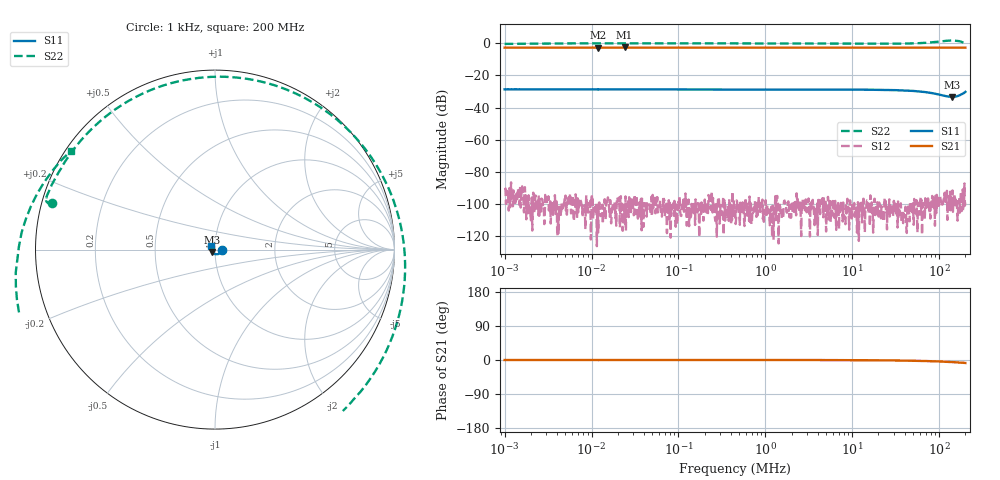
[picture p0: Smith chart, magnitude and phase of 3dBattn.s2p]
! ListType=Log
# MHZ S RI R 50
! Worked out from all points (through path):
!   1000 points, 1 kHz to 200 MHz, reference 50 ohm
!   highest |S21| = -2.72 dB at 23.97 kHz (marker M1); lowest = -2.9 dB at 11.95 kHz (marker M2)
!   group delay of S21, straight-line fit = 109 ps
!   lowest |S11| = -33.4 dB at 140.3 MHz (marker M3), VSWR 1.04, Z = 48.3 - j1.24 ohm
!   |S11| at or under -10 dB: start of sweep to end of sweep
!   |S22| runs from -0.5 to 1.7 dB; largest |S21 - S12| = 0.73
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0.001  0.0368 -0.000356  0.7243 0.000107  -1.15e-05 -2.99e-05  -0.9089 0.26
0.0076941  0.0368 -9.2e-05  0.7245 0.000168  -2.1e-06 8.4e-06  -0.9422 0.2759
0.011945  0.0359 -0.000669  0.7173 -0.00634  -1.2e-06 6e-07  -0.9435 0.2782
0.0239689  0.0368 0.000116  0.7313 0.00337  -3.4e-06 -2.8e-06  -0.9432 0.2849
0.0584804  0.0367 -0.000227  0.7245 1.42e-05  1.1e-06 -7.5e-06  -0.9406 0.2882
0.4499541  0.0362 -0.000446  0.7244 -0.000189  1.8e-06 7.1e-06  -0.9349 0.303
3.419952  0.0361 -0.00167  0.7244 -0.00171  -1.8e-06 -7.2e-06  -0.8867 0.4028
12.03851  0.0354 -0.00597  0.7243 -0.00598  -7.5e-06 -3e-07  -0.7122 0.6466
18.46267  0.0345 -0.00892  0.7243 -0.00918  1.7e-06 -4.3e-06  -0.5466 0.7874
26.31347  0.0328 -0.0124  0.7242 -0.013  3.6e-06 -3.5e-06  -0.3118 0.9064
38.90281  0.0292 -0.0174  0.724 -0.0193  3.2e-06 4.1e-06  0.104 0.96
51.52603  0.0245 -0.0215  0.7238 -0.0254  1.6e-06 -1.45e-05  0.5114 0.8387
65.78902  0.0179 -0.0249  0.7235 -0.0325  6.6e-06 -6.7e-06  0.8727 0.5111
84.00016  0.0086 -0.0265  0.7231 -0.0414  5.3e-06 -1.6e-05  1.059 -0.0947
94.91689  0.00294 -0.0258  0.7227 -0.0468  -1.25e-05 -1.04e-05  0.9892 -0.4818
107.2524  -0.00322 -0.024  0.7226 -0.0529  -1.6e-06 -8.5e-06  0.7458 -0.8653
124.1889  -0.011 -0.0193  0.7215 -0.0614  2.5e-06 -2.1e-06  0.203 -1.17
140.3286  -0.0171 -0.0129  0.7208 -0.0693  -1.27e-05 -1.27e-05  -0.3943 -1.141
152.8589  -0.0208 -0.00677  0.7202 -0.0754  -1.3e-06 -9.2e-06  -0.7884 -0.9024
168.5549  -0.0236 0.00168  0.7191 -0.0831  -1.07e-05 1.6e-06  -1.076 -0.4214
181.3758  -0.0245 0.0091  0.7179 -0.0889  -2e-06 -5.8e-06  -1.092 0.0173
200  -0.0228 0.0205  0.717 -0.0989  -1.29e-05 -6.6e-06  -0.8026 0.5506
